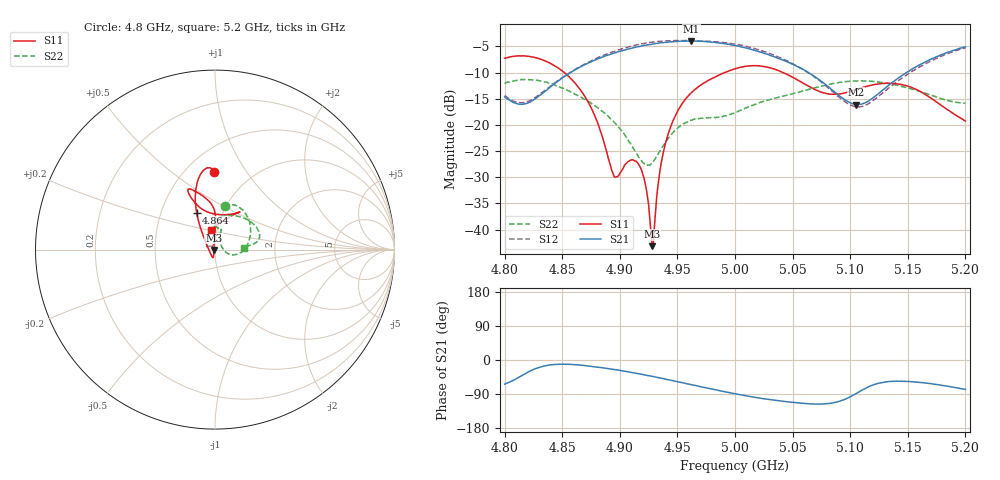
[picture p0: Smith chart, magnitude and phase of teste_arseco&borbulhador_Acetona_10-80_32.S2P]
! Network Analyzer HP8722D
! Hewlett-Packard
! Data name: Linha & Wilkinson
! Saver's name: Rodrigo Anjos
! Comments: Teste da utilização de aquisição
! continua pelo VNA HP8722D
! Time and date: 25/4/2025 15:32
!  Frequency  S11  S21  S12  S22
# HZ  S  MA R 50
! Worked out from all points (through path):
!   401 points, 4.8 GHz to 5.2 GHz, reference 50 ohm
!   highest |S21| = -3.95 dB at 4.962 GHz (marker M1); lowest = -16.1 dB at 5.105 GHz (marker M2)
!   lowest |S11| = -43.2 dB at 4.928 GHz (marker M3), VSWR 1.01, Z = 49.3 - j0.21 ohm
!   |S11| at or under -10 dB: 4.852 GHz to 4.991 GHz (139.2 MHz wide, 2.83 % of centre); 5.042 GHz to end of sweep
!   |S22| runs from -27.7 to -11.3 dB; largest |S21 - S12| = 1.2
!   S11 on the Smith chart (normalised r, x): 4.8 GHz: 0.68, +0.73; 4.864 GHz: 0.75, +0.33; 5.2 GHz: 0.94, +0.20
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4.8e9  0.4339 90.5  0.1857 -63.8  0.1906 69.8  0.2479 77.2
4.82e9  0.4523 96.7  0.162 -32.5  0.1677 98.4  0.2708 61.7
4.845e9  0.359 107.1  0.2556 -11.4  0.2595 119.4  0.2364 34.2
4.864e9  0.2299 116.4  0.3506 -13.0  0.3535 121.0  0.1897 12.0
4.867e9  0.2071 118.1  0.3651 -13.9  0.3692 120.7  0.183 8.5
4.88e9  0.1094 128.5  0.4244 -18.5  0.4339 118.4  0.1481 -5.7
4.895e9  0.03207 -171.1  0.4862 -25.1  0.5022 113.7  0.1069 -15.7
4.909e9  0.04581 -106.1  0.5364 -32.1  0.5627 107.5  0.06711 -14.6
4.917e9  0.04089 -102.0  0.5622 -36.5  0.5905 103.5  0.04806 -1.5
4.923e9  0.0245 -107.6  0.5776 -40.1  0.6078 99.8  0.04109 20.7
4.928e9  0.006948 -162.2  0.5923 -43.1  0.6198 96.8  0.04348 41.7
4.93e9  0.01053 124.5  0.5974 -44.3  0.6208 95.7  0.04614 48.2
4.934e9  0.03116 98.8  0.6053 -46.9  0.6308 93.1  0.05471 58.2
4.944e9  0.0953 90.3  0.6222 -53.3  0.6375 86.8  0.07946 70.0
4.962e9  0.2027 89.8  0.6346 -65.0  0.6387 75.3  0.1109 71.6
5e9  0.3447 109.0  0.5731 -89.2  0.5926 50.7  0.1321 88.7
5.03e9  0.3527 114.9  0.4627 -104.3  0.4811 33.8  0.174 85.4
5.067e9  0.2249 104.9  0.3012 -115.9  0.2984 23.5  0.2223 57.1
5.105e9  0.2178 64.7  0.1568 -88.8  0.1489 54.4  0.2634 25.6
5.134e9  0.2506 56.7  0.2418 -56.8  0.2274 88.6  0.2479 12.4
5.168e9  0.1869 68.7  0.4146 -61.9  0.3977 85.1  0.1961 7.0
5.2e9  0.1093 100.4  0.5564 -77.5  0.5464 70.0  0.161 3.9
